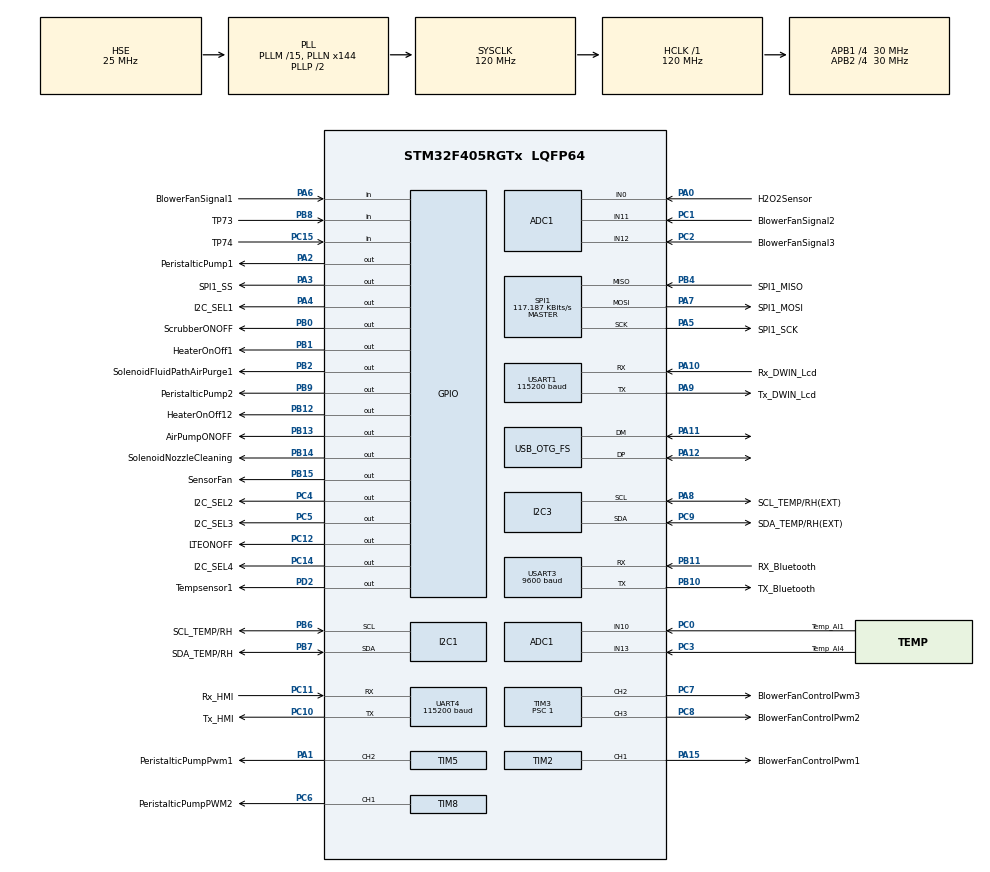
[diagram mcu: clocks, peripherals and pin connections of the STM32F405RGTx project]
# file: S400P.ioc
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ADC1.Channel-0\#ChannelRegularConversion=ADC_CHANNEL_0
ADC1.Channel-1\#ChannelRegularConversion=ADC_CHANNEL_10
ADC1.Channel-2\#ChannelRegularConversion=ADC_CHANNEL_11
ADC1.Channel-3\#ChannelRegularConversion=ADC_CHANNEL_12
ADC1.Channel-4\#ChannelRegularConversion=ADC_CHANNEL_13
ADC1.ClockPrescaler=ADC_CLOCK_SYNC_PCLK_DIV4
ADC1.ContinuousConvMode=ENABLE
ADC1.DMAContinuousRequests=ENABLE
ADC1.InjNumberOfConversion=0
ADC1.NbrOfConversion=5
ADC1.NbrOfConversionFlag=1
ADC1.Rank-0\#ChannelRegularConversion=1
ADC1.Rank-1\#ChannelRegularConversion=2
ADC1.Rank-2\#ChannelRegularConversion=3
ADC1.Rank-3\#ChannelRegularConversion=4
ADC1.Rank-4\#ChannelRegularConversion=5
ADC1.SamplingTime-0\#ChannelRegularConversion=ADC_SAMPLETIME_3CYCLES
ADC1.SamplingTime-1\#ChannelRegularConversion=ADC_SAMPLETIME_3CYCLES
ADC1.SamplingTime-2\#ChannelRegularConversion=ADC_SAMPLETIME_3CYCLES
ADC1.SamplingTime-3\#ChannelRegularConversion=ADC_SAMPLETIME_3CYCLES
ADC1.SamplingTime-4\#ChannelRegularConversion=ADC_SAMPLETIME_3CYCLES
ADC1.master=1
Dma.ADC1.0.Direction=DMA_PERIPH_TO_MEMORY
Dma.ADC1.0.FIFOMode=DMA_FIFOMODE_ENABLE
Dma.ADC1.0.FIFOThreshold=DMA_FIFO_THRESHOLD_FULL
Dma.ADC1.0.Instance=DMA2_Stream0
Dma.ADC1.0.MemBurst=DMA_MBURST_SINGLE
Dma.ADC1.0.MemDataAlignment=DMA_MDATAALIGN_WORD
Dma.ADC1.0.MemInc=DMA_MINC_ENABLE
Dma.ADC1.0.Mode=DMA_CIRCULAR
Dma.ADC1.0.PeriphBurst=DMA_PBURST_SINGLE
Dma.ADC1.0.PeriphDataAlignment=DMA_PDATAALIGN_WORD
Dma.ADC1.0.PeriphInc=DMA_PINC_DISABLE
Dma.ADC1.0.Priority=DMA_PRIORITY_LOW
Dma.Request0=ADC1
FATFS._CODE_PAGE=437
FATFS._FS_EXFAT=1
FATFS._FS_NORTC=0
FATFS._NORTC_MDAY=20
FATFS._NORTC_YEAR=2019
FATFS._USE_LFN=1
I2C1.NoStretchMode=I2C_NOSTRETCH_DISABLE
Mcu.Family=STM32F4
Mcu.Name=STM32F405RGTx
Mcu.Package=LQFP64
NVIC.DMA2_Stream0_IRQn=true\:0\:0\:false\:false\:true\:false\:true\:true
NVIC.OTG_FS_IRQn=true\:0\:0\:false\:false\:true\:false\:true\:true
NVIC.PriorityGroup=NVIC_PRIORITYGROUP_4
NVIC.TIM7_IRQn=true\:0\:0\:false\:true\:true\:1\:true\:true\:true
NVIC.UART4_IRQn=true\:0\:0\:false\:false\:true\:true\:true\:true
NVIC.USART1_IRQn=true\:0\:0\:false\:true\:true\:2\:true\:true\:true
PA0-WKUP.GPIO_Label=H2O2Sensor
PA0-WKUP.Signal=ADCx_IN0
PA1.GPIO_Label=PeristalticPumpPwm1
PA1.GPIO_PuPd=GPIO_PULLUP
PA1.Signal=S_TIM5_CH2
PA10.GPIO_Label=Rx_DWIN_Lcd
PA10.Mode=Asynchronous
PA10.Signal=USART1_RX
PA11.GPIO_PuPd=GPIO_PULLUP
PA11.GPIO_Speed=GPIO_SPEED_FREQ_HIGH
PA11.Mode=Host_Only
PA11.Signal=USB_OTG_FS_DM
PA12.GPIO_PuPd=GPIO_PULLUP
PA12.GPIO_Speed=GPIO_SPEED_FREQ_HIGH
PA12.Mode=Host_Only
PA12.Signal=USB_OTG_FS_DP
PA13.Mode=Trace_Asynchronous_SW
PA13.Signal=SYS_JTMS-SWDIO
PA14.Mode=Trace_Asynchronous_SW
PA14.Signal=SYS_JTCK-SWCLK
PA15.GPIO_Label=BlowerFanControlPwm1
PA15.GPIO_PuPd=GPIO_PULLUP
PA15.Signal=S_TIM2_CH1_ETR
PA2.GPIO_Label=PeristalticPump1
PA2.Signal=GPIO_Output
PA3.GPIO_Label=SPI1_SS
PA3.GPIO_PuPd=GPIO_PULLUP
PA3.GPIO_Speed=GPIO_SPEED_FREQ_VERY_HIGH
PA3.PinState=GPIO_PIN_SET
PA3.Signal=GPIO_Output
PA4.GPIO_Label=I2C_SEL1
PA4.GPIO_PuPd=GPIO_PULLUP
PA4.Signal=GPIO_Output
PA5.GPIO_Label=SPI1_SCK
PA5.Mode=Full_Duplex_Master
PA5.Signal=SPI1_SCK
PA6.GPIO_Label=BlowerFanSignal1
PA6.GPIO_PuPd=GPIO_PULLUP
PA6.Signal=GPIO_Input
PA7.GPIO_Label=SPI1_MOSI
PA7.GPIO_PuPd=GPIO_PULLUP
PA7.Mode=Full_Duplex_Master
PA7.Signal=SPI1_MOSI
PA8.GPIO_Label=SCL_TEMP/RH(EXT)
PA8.GPIO_Pu=GPIO_PULLUP
PA8.Mode=I2C
PA8.Signal=I2C3_SCL
PA9.GPIO_Label=Tx_DWIN_Lcd
PA9.GPIO_Speed=GPIO_SPEED_FREQ_HIGH
PA9.Mode=Asynchronous
PA9.Signal=USART1_TX
PB0.GPIO_Label=ScrubberONOFF
PB0.GPIO_PuPd=GPIO_PULLDOWN
PB0.Signal=GPIO_Output
PB1.GPIO_Label=HeaterOnOff1
PB1.GPIO_PuPd=GPIO_PULLDOWN
PB1.Signal=GPIO_Output
PB10.GPIO_Label=TX_Bluetooth
PB10.GPIO_Speed=GPIO_SPEED_FREQ_HIGH
PB10.Mode=Asynchronous
PB10.Signal=USART3_TX
PB11.GPIO_Label=RX_Bluetooth
PB11.Mode=Asynchronous
PB11.Signal=USART3_RX
PB12.GPIO_Label=HeaterOnOff12
PB12.GPIO_PuPd=GPIO_PULLDOWN
PB12.Signal=GPIO_Output
PB13.GPIO_Label=AirPumpONOFF
PB13.GPIO_PuPd=GPIO_PULLDOWN
PB13.Signal=GPIO_Output
PB14.GPIO_Label=SolenoidNozzleCleaning
PB14.GPIO_PuPd=GPIO_PULLUP
PB14.Signal=GPIO_Output
PB15.GPIO_Label=SensorFan
PB15.GPIO_ModeDefaultOutputPP=GPIO_MODE_OUTPUT_PP
PB15.GPIO_PuPd=GPIO_PULLUP
PB15.PinState=GPIO_PIN_SET
PB15.Signal=GPIO_Output
PB2.GPIO_Label=SolenoidFluidPathAirPurge1
PB2.GPIO_PuPd=GPIO_PULLUP
PB2.Signal=GPIO_Output
PB3.Mode=Trace_Asynchronous_SW
PB3.Signal=SYS_JTDO-SWO
PB4.GPIO_Label=SPI1_MISO
PB4.GPIO_PuPd=GPIO_PULLUP
PB4.Mode=Full_Duplex_Master
PB4.Signal=SPI1_MISO
PB6.GPIO_Label=SCL_TEMP/RH
PB6.GPIO_Pu=GPIO_PULLUP
PB6.Mode=I2C
PB6.Signal=I2C1_SCL
PB7.GPIO_Label=SDA_TEMP/RH
PB7.GPIO_Pu=GPIO_PULLUP
PB7.Mode=I2C
PB7.Signal=I2C1_SDA
PB8.GPIO_Label=TP73
PB8.GPIO_PuPd=GPIO_PULLUP
PB8.Signal=GPIO_Input
PB9.GPIO_Label=PeristalticPump2
PB9.PinState=GPIO_PIN_SET
PB9.Signal=GPIO_Output
PC0.GPIO_Label=Temp_AI1
PC0.Signal=ADCx_IN10
PC1.GPIO_Label=BlowerFanSignal2
PC1.Signal=ADCx_IN11
PC10.GPIO_Label=Tx_HMI
PC10.Mode=Asynchronous
PC10.Signal=UART4_TX
PC11.GPIO_Label=Rx_HMI
PC11.Mode=Asynchronous
PC11.Signal=UART4_RX
PC12.GPIO_Label=LTEONOFF
PC12.GPIO_ModeDefaultOutputPP=GPIO_MODE_OUTPUT_OD
PC12.GPIO_PuPd=GPIO_NOPULL
PC12.GPIO_Speed=GPIO_SPEED_FREQ_HIGH
PC12.PinState=GPIO_PIN_RESET
PC12.Signal=GPIO_Output
PC14-OSC32_IN.GPIO_Label=I2C_SEL4
PC14-OSC32_IN.GPIO_PuPd=GPIO_PULLUP
PC14-OSC32_IN.Signal=GPIO_Output
PC15-OSC32_OUT.GPIO_Label=TP74
PC15-OSC32_OUT.GPIO_PuPd=GPIO_PULLUP
PC15-OSC32_OUT.Signal=GPIO_Input
PC2.GPIO_Label=BlowerFanSignal3
PC2.Signal=ADCx_IN12
PC3.GPIO_Label=Temp_AI4
PC3.Signal=ADCx_IN13
PC4.GPIO_Label=I2C_SEL2
PC4.GPIO_PuPd=GPIO_PULLUP
PC4.Signal=GPIO_Output
PC5.GPIO_Label=I2C_SEL3
PC5.GPIO_PuPd=GPIO_PULLUP
PC5.Signal=GPIO_Output
PC6.GPIO_Label=PeristalticPumpPWM2
PC6.GPIO_PuPd=GPIO_PULLUP
PC6.Signal=S_TIM8_CH1
PC7.GPIO_Label=BlowerFanControlPwm3
PC7.GPIO_PuPd=GPIO_PULLUP
PC7.Signal=S_TIM3_CH2
PC8.GPIO_Label=BlowerFanControlPwm2
PC8.GPIO_PuPd=GPIO_PULLUP
PC8.Signal=S_TIM3_CH3
PC9.GPIO_Label=SDA_TEMP/RH(EXT)
PC9.GPIO_Pu=GPIO_PULLUP
PC9.Mode=I2C
PC9.Signal=I2C3_SDA
PD2.GPIO_Label=Tempsensor1
PD2.GPIO_PuPd=GPIO_PULLUP
PD2.GPIO_Speed=GPIO_SPEED_FREQ_VERY_HIGH
PD2.PinState=GPIO_PIN_SET
PD2.Signal=GPIO_Output
PH0-OSC_IN.Mode=HSE-External-Oscillator
PH0-OSC_IN.Signal=RCC_OSC_IN
PH1-OSC_OUT.Mode=HSE-External-Oscillator
PH1-OSC_OUT.Signal=RCC_OSC_OUT
ProjectManager.HeapSize=0x200
ProjectManager.StackSize=0x800
ProjectManager.TargetToolchain=STM32CubeIDE
RCC.48MHZClocksFreq_Value=48000000
RCC.AHBFreq_Value=120000000
RCC.APB1CLKDivider=RCC_HCLK_DIV4
RCC.APB1Freq_Value=30000000
RCC.APB1TimFreq_Value=60000000
RCC.APB2CLKDivider=RCC_HCLK_DIV4
RCC.APB2Freq_Value=30000000
RCC.APB2TimFreq_Value=60000000
RCC.CortexFreq_Value=120000000
RCC.HCLKFreq_Value=120000000
RCC.HSE_VALUE=25000000
RCC.HSI_VALUE=16000000
RCC.LSE_VALUE=32768
RCC.PLLM=15
RCC.PLLN=144
RCC.PLLQ=5
RCC.SYSCLKFreq_VALUE=120000000
RCC.SYSCLKSource=RCC_SYSCLKSOURCE_PLLCLK
RCC.VCOOutputFreq_Value=240000000
SH.ADCx_IN0.0=ADC1_IN0,IN0
SH.ADCx_IN10.0=ADC1_IN10,IN10
SH.ADCx_IN11.0=ADC1_IN11,IN11
SH.ADCx_IN12.0=ADC1_IN12,IN12
SH.ADCx_IN13.0=ADC1_IN13,IN13
SH.S_TIM2_CH1_ETR.0=TIM2_CH1,PWM Generation1 CH1
SH.S_TIM3_CH2.0=TIM3_CH2,PWM Generation2 CH2
SH.S_TIM3_CH3.0=TIM3_CH3,PWM Generation3 CH3
SH.S_TIM5_CH2.0=TIM5_CH2,PWM Generation2 CH2
SH.S_TIM8_CH1.0=TIM8_CH1,PWM Generation1 CH1
SPI1.BaudRatePrescaler=SPI_BAUDRATEPRESCALER_256
SPI1.CLKPolarity=SPI_POLARITY_LOW
SPI1.CalculateBaudRate=117.187 KBits/s
SPI1.Direction=SPI_DIRECTION_2LINES
SPI1.Mode=SPI_MODE_MASTER
SPI1.VirtualType=VM_MASTER
TIM2.Channel-PWM\ Generation1\ CH1=TIM_CHANNEL_1
TIM2.OCPolarity_1=TIM_OCPOLARITY_LOW
TIM2.Period=1200-1
TIM2.Prescaler=1
TIM2.Pulse-PWM\ Generation1\ CH1=780-1
TIM3.Channel-PWM\ Generation2\ CH2=TIM_CHANNEL_2
TIM3.Channel-PWM\ Generation3\ CH3=TIM_CHANNEL_3
TIM3.OCPolarity_2=TIM_OCPOLARITY_LOW
TIM3.OCPolarity_3=TIM_OCPOLARITY_LOW
TIM3.Period=1200-1
TIM3.Prescaler=1
TIM3.Pulse-PWM\ Generation2\ CH2=780-1
TIM3.Pulse-PWM\ Generation3\ CH3=780-1
TIM5.AutoReloadPreload=TIM_AUTORELOAD_PRELOAD_ENABLE
TIM5.Channel-PWM\ Generation2\ CH2=TIM_CHANNEL_2
TIM5.Period=550-1
TIM5.Prescaler=375-1
TIM5.Pulse-PWM\ Generation2\ CH2=550/2-1
TIM7.Period=6000-1
TIM7.Prescaler=10-1
TIM8.AutoReloadPreload=TIM_AUTORELOAD_PRELOAD_ENABLE
TIM8.AutomaticOutput=TIM_AUTOMATICOUTPUT_DISABLE
TIM8.BreakState=TIM_BREAK_DISABLE
TIM8.Channel-PWM\ Generation1\ CH1=TIM_CHANNEL_1
TIM8.Period=550-1
TIM8.Prescaler=375-1
TIM8.Pulse-PWM\ Generation1\ CH1=550/2-1
UART4.BaudRate=115200
UART4.VirtualMode=Asynchronous
USART1.BaudRate=115200
USART1.VirtualMode=VM_ASYNC
USART3.BaudRate=9600
USART3.VirtualMode=VM_ASYNC
USB_HOST.SW_VBUS_DRIVE_MSC_FS=true
USB_HOST.USBH_HandleTypeDef-MSC_FS=hUsbHostFS
USB_HOST.VirtualModeFS=Msc
USB_OTG_FS.VirtualMode=Host_Only
USB_OTG_FS.phy_itface=HCD_PHY_EMBEDDED
VP_CRC_VS_CRC.Mode=CRC_Activate
VP_FATFS_VS_USB.Mode=USB
VP_RTC_VS_RTC_Activate.Mode=RTC_Enabled
VP_RTC_VS_RTC_Calendar.Mode=RTC_Calendar
VP_TIM2_VS_ClockSourceINT.Mode=Internal
VP_TIM3_VS_ClockSourceINT.Mode=Internal
VP_TIM5_VS_ClockSourceINT.Mode=Internal
VP_TIM7_VS_ClockSourceINT.Mode=Enable_Timer
VP_TIM8_VS_ClockSourceINT.Mode=Internal
VP_USB_HOST_VS_USB_HOST_MSC_FS.Mode=MSC_FS
board=custom

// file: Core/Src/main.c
/* USER CODE BEGIN Header */
/**
  ******************************************************************************
  * @file           : main.c
  * @brief          : Main program body
  ******************************************************************************
  * @attention
  *
  * Copyright (c) 2026 STMicroelectronics.
  * All rights reserved.
  *
  * This software is licensed under terms that can be found in the LICENSE file
  * in the root directory of this software component.
  * If no LICENSE file comes with this software, it is provided AS-IS.
  *
  ******************************************************************************
  */
/* USER CODE END Header */
#include "main.h"
#include "fatfs.h"
#include "usb_host.h"

/* USER CODE BEGIN Includes */
#include <string.h>

/* USER CODE END Includes */

/* USER CODE BEGIN PD */
#define HMI_MODBUS_SLAVE_ID      0U
#define HMI_MODBUS_POLL_MS       1000U
#define HMI_MODBUS_UART_HANDLE   (&huart4)
#define HMI_MODBUS_COUNTER_ADDR  100U

/* USER CODE END PD */

ADC_HandleTypeDef hadc1;
DMA_HandleTypeDef hdma_adc1;

CRC_HandleTypeDef hcrc;

I2C_HandleTypeDef hi2c1;
I2C_HandleTypeDef hi2c3;

RTC_HandleTypeDef hrtc;

SPI_HandleTypeDef hspi1;

TIM_HandleTypeDef htim2;
TIM_HandleTypeDef htim3;
TIM_HandleTypeDef htim5;
TIM_HandleTypeDef htim7;
TIM_HandleTypeDef htim8;

UART_HandleTypeDef huart4;
UART_HandleTypeDef huart1;
UART_HandleTypeDef huart3;

/* USER CODE BEGIN PV */
static uint32_t g_hmiLastPollTick = 0U;
static uint16_t g_hmiTxCounter = 0U;

/* USER CODE END PV */

void SystemClock_Config(void);
static void MX_GPIO_Init(void);
static void MX_DMA_Init(void);
static void MX_ADC1_Init(void);
static void MX_CRC_Init(void);
static void MX_I2C1_Init(void);
static void MX_I2C3_Init(void);
static void MX_SPI1_Init(void);
static void MX_TIM2_Init(void);
static void MX_TIM3_Init(void);
static void MX_TIM5_Init(void);
static void MX_UART4_Init(void);
static void MX_USART1_UART_Init(void);
static void MX_USART3_UART_Init(void);
static void MX_TIM7_Init(void);
static void MX_TIM8_Init(void);
static void MX_RTC_Init(void);
static void MX_NVIC_Init(void);
void MX_USB_HOST_Process(void);

/* USER CODE BEGIN PFP */
static uint16_t Modbus_CRC16(const uint8_t *data, uint16_t length);
static HAL_StatusTypeDef HMI_ModbusWriteSingleRegister(UART_HandleTypeDef *huart,
                                                        uint8_t slaveId,
                                                        uint16_t regAddr,
                                                        uint16_t value);

/* USER CODE END PFP */

/* USER CODE BEGIN 0 */
static uint16_t Modbus_CRC16(const uint8_t *data, uint16_t length)
{
  uint16_t crc = 0xFFFFU;
  uint16_t i;
  uint8_t j;

  for (i = 0U; i < length; i++)
  {
    crc ^= data[i];
    for (j = 0U; j < 8U; j++)
    {
      if ((crc & 0x0001U) != 0U)
      {
        crc >>= 1U;
        crc ^= 0xA001U;
      }
      else
      {
        crc >>= 1U;
      }
    }
  }

  return crc;
}

static HAL_StatusTypeDef HMI_ModbusWriteSingleRegister(UART_HandleTypeDef *huart,
                                                        uint8_t slaveId,
                                                        uint16_t regAddr,
                                                        uint16_t value)
{
  uint8_t request[8];
  uint8_t response[8];
  uint16_t crc;
  HAL_StatusTypeDef status;

  request[0] = slaveId;
  request[1] = 0x06U; /* Function Code: Write Single Register */
  request[2] = (uint8_t)(regAddr >> 8);
  request[3] = (uint8_t)(regAddr & 0x00FFU);
  request[4] = (uint8_t)(value >> 8);
  request[5] = (uint8_t)(value & 0x00FFU);

  crc = Modbus_CRC16(request, 6U);
  request[6] = (uint8_t)(crc & 0x00FFU);       /* CRC Low */
  request[7] = (uint8_t)((crc >> 8) & 0x00FFU);/* CRC High */

  status = HAL_UART_Transmit(huart, request, sizeof(request), 100U);
  if (status != HAL_OK)
  {
    return status;
  }

  status = HAL_UART_Receive(huart, response, sizeof(response), 200U);
  if (status != HAL_OK)
  {
    return status;
  }

  crc = Modbus_CRC16(response, 6U);
  if ((response[6] != (uint8_t)(crc & 0x00FFU)) ||
      (response[7] != (uint8_t)((crc >> 8) & 0x00FFU)))
  {
    return HAL_ERROR;
  }

  if (memcmp(request, response, 6U) != 0)
  {
    return HAL_ERROR;
  }

  return HAL_OK;
}

/* USER CODE END 0 */

int main(void)
{

  /* MCU Configuration--------------------------------------------------------*/

  /* Reset of all peripherals, Initializes the Flash interface and the Systick. */
  HAL_Init();

  /* Configure the system clock */
  SystemClock_Config();

  /* Initialize all configured peripherals */
  MX_GPIO_Init();
  MX_DMA_Init();
  MX_ADC1_Init();
  MX_CRC_Init();
  MX_I2C1_Init();
  MX_I2C3_Init();
  MX_SPI1_Init();
  MX_TIM2_Init();
  MX_TIM3_Init();
  MX_TIM5_Init();
  MX_UART4_Init();
  MX_USART1_UART_Init();
  MX_USART3_UART_Init();
  MX_FATFS_Init();
  MX_USB_HOST_Init();
  MX_TIM7_Init();
  MX_TIM8_Init();
  MX_RTC_Init();

  /* Initialize interrupts */
  MX_NVIC_Init();
  /* USER CODE BEGIN 2 */
  g_hmiLastPollTick = HAL_GetTick();

  /* USER CODE END 2 */

  /* Infinite loop */
  while (1)
  {
    MX_USB_HOST_Process();

    /* USER CODE BEGIN 3 */
    if ((HAL_GetTick() - g_hmiLastPollTick) >= HMI_MODBUS_POLL_MS)
    {
      g_hmiLastPollTick = HAL_GetTick();

      if (HMI_ModbusWriteSingleRegister(HMI_MODBUS_UART_HANDLE,
                                        HMI_MODBUS_SLAVE_ID,
                                        HMI_MODBUS_COUNTER_ADDR,
                                        g_hmiTxCounter) == HAL_OK)
      {
        g_hmiTxCounter++;
      }
      else
      {
        /* 통신 실패 시 재시도 또는 에러 카운트 처리 (counter 값 유지) */
      }
    }
  }
  /* USER CODE END 3 */
}

void SystemClock_Config(void)
{
  RCC_OscInitTypeDef RCC_OscInitStruct = {0};
  RCC_ClkInitTypeDef RCC_ClkInitStruct = {0};

  /** Configure the main internal regulator output voltage
  */
  __HAL_RCC_PWR_CLK_ENABLE();
  __HAL_PWR_VOLTAGESCALING_CONFIG(PWR_REGULATOR_VOLTAGE_SCALE1);

  /** Initializes the RCC Oscillators according to the specified parameters
  * in the RCC_OscInitTypeDef structure.
  */
  RCC_OscInitStruct.OscillatorType = RCC_OSCILLATORTYPE_LSI|RCC_OSCILLATORTYPE_HSE;
  RCC_OscInitStruct.HSEState = RCC_HSE_ON;
  RCC_OscInitStruct.LSIState = RCC_LSI_ON;
  RCC_OscInitStruct.PLL.PLLState = RCC_PLL_ON;
  RCC_OscInitStruct.PLL.PLLSource = RCC_PLLSOURCE_HSE;
  RCC_OscInitStruct.PLL.PLLM = 15;
  RCC_OscInitStruct.PLL.PLLN = 144;
  RCC_OscInitStruct.PLL.PLLP = RCC_PLLP_DIV2;
  RCC_OscInitStruct.PLL.PLLQ = 5;
  if (HAL_RCC_OscConfig(&RCC_OscInitStruct) != HAL_OK)
  {
    Error_Handler();
  }

  /** Initializes the CPU, AHB and APB buses clocks
  */
  RCC_ClkInitStruct.ClockType = RCC_CLOCKTYPE_HCLK|RCC_CLOCKTYPE_SYSCLK
                              |RCC_CLOCKTYPE_PCLK1|RCC_CLOCKTYPE_PCLK2;
  RCC_ClkInitStruct.SYSCLKSource = RCC_SYSCLKSOURCE_PLLCLK;
  RCC_ClkInitStruct.AHBCLKDivider = RCC_SYSCLK_DIV1;
  RCC_ClkInitStruct.APB1CLKDivider = RCC_HCLK_DIV4;
  RCC_ClkInitStruct.APB2CLKDivider = RCC_HCLK_DIV4;

  if (HAL_RCC_ClockConfig(&RCC_ClkInitStruct, FLASH_LATENCY_3) != HAL_OK)
  {
    Error_Handler();
  }
}

/**
  * @brief NVIC Configuration.
  * @retval None
  */
static void MX_NVIC_Init(void)
{
  /* TIM7_IRQn interrupt configuration */
  HAL_NVIC_SetPriority(TIM7_IRQn, 0, 0);
  HAL_NVIC_EnableIRQ(TIM7_IRQn);
  /* USART1_IRQn interrupt configuration */
  HAL_NVIC_SetPriority(USART1_IRQn, 0, 0);
  HAL_NVIC_EnableIRQ(USART1_IRQn);
}

static void MX_ADC1_Init(void)
{

  ADC_ChannelConfTypeDef sConfig = {0};

  /** Configure the global features of the ADC (Clock, Resolution, Data Alignment and number of conversion)
  */
  hadc1.Instance = ADC1;
  hadc1.Init.ClockPrescaler = ADC_CLOCK_SYNC_PCLK_DIV4;
  hadc1.Init.Resolution = ADC_RESOLUTION_12B;
  hadc1.Init.ScanConvMode = ENABLE;
  hadc1.Init.ContinuousConvMode = ENABLE;
  hadc1.Init.DiscontinuousConvMode = DISABLE;
  hadc1.Init.ExternalTrigConvEdge = ADC_EXTERNALTRIGCONVEDGE_NONE;
  hadc1.Init.ExternalTrigConv = ADC_SOFTWARE_START;
  hadc1.Init.DataAlign = ADC_DATAALIGN_RIGHT;
  hadc1.Init.NbrOfConversion = 5;
  hadc1.Init.DMAContinuousRequests = ENABLE;
  hadc1.Init.EOCSelection = ADC_EOC_SINGLE_CONV;
  if (HAL_ADC_Init(&hadc1) != HAL_OK)
  {
    Error_Handler();
  }

  /** Configure for the selected ADC regular channel its corresponding rank in the sequencer and its sample time.
  */
  sConfig.Channel = ADC_CHANNEL_0;
  sConfig.Rank = 1;
  sConfig.SamplingTime = ADC_SAMPLETIME_3CYCLES;
  if (HAL_ADC_ConfigChannel(&hadc1, &sConfig) != HAL_OK)
  {
    Error_Handler();
  }

  /** Configure for the selected ADC regular channel its corresponding rank in the sequencer and its sample time.
  */
  sConfig.Channel = ADC_CHANNEL_10;
  sConfig.Rank = 2;
  if (HAL_ADC_ConfigChannel(&hadc1, &sConfig) != HAL_OK)
  {
    Error_Handler();
  }

  /** Configure for the selected ADC regular channel its corresponding rank in the sequencer and its sample time.
  */
  sConfig.Channel = ADC_CHANNEL_11;
  sConfig.Rank = 3;
  if (HAL_ADC_ConfigChannel(&hadc1, &sConfig) != HAL_OK)
  {
    Error_Handler();
  }

  /** Configure for the selected ADC regular channel its corresponding rank in the sequencer and its sample time.
  */
  sConfig.Channel = ADC_CHANNEL_12;
  sConfig.Rank = 4;
  if (HAL_ADC_ConfigChannel(&hadc1, &sConfig) != HAL_OK)
  {
    Error_Handler();
  }

  /** Configure for the selected ADC regular channel its corresponding rank in the sequencer and its sample time.
  */
  sConfig.Channel = ADC_CHANNEL_13;
  sConfig.Rank = 5;
  if (HAL_ADC_ConfigChannel(&hadc1, &sConfig) != HAL_OK)
  {
    Error_Handler();
  }

}

static void MX_CRC_Init(void)
{

  hcrc.Instance = CRC;
  if (HAL_CRC_Init(&hcrc) != HAL_OK)
  {
    Error_Handler();
  }

}

static void MX_I2C1_Init(void)
{

  hi2c1.Instance = I2C1;
  hi2c1.Init.ClockSpeed = 100000;
  hi2c1.Init.DutyCycle = I2C_DUTYCYCLE_2;
  hi2c1.Init.OwnAddress1 = 0;
  hi2c1.Init.AddressingMode = I2C_ADDRESSINGMODE_7BIT;
  hi2c1.Init.DualAddressMode = I2C_DUALADDRESS_DISABLE;
  hi2c1.Init.OwnAddress2 = 0;
  hi2c1.Init.GeneralCallMode = I2C_GENERALCALL_DISABLE;
  hi2c1.Init.NoStretchMode = I2C_NOSTRETCH_DISABLE;
  if (HAL_I2C_Init(&hi2c1) != HAL_OK)
  {
    Error_Handler();
  }

}

static void MX_I2C3_Init(void)
{

  hi2c3.Instance = I2C3;
  hi2c3.Init.ClockSpeed = 100000;
  hi2c3.Init.DutyCycle = I2C_DUTYCYCLE_2;
  hi2c3.Init.OwnAddress1 = 0;
  hi2c3.Init.AddressingMode = I2C_ADDRESSINGMODE_7BIT;
  hi2c3.Init.DualAddressMode = I2C_DUALADDRESS_DISABLE;
  hi2c3.Init.OwnAddress2 = 0;
  hi2c3.Init.GeneralCallMode = I2C_GENERALCALL_DISABLE;
  hi2c3.Init.NoStretchMode = I2C_NOSTRETCH_DISABLE;
  if (HAL_I2C_Init(&hi2c3) != HAL_OK)
  {
    Error_Handler();
  }

}

static void MX_RTC_Init(void)
{

  RTC_TimeTypeDef sTime = {0};
  RTC_DateTypeDef sDate = {0};

  /** Initialize RTC Only
  */
  hrtc.Instance = RTC;
  hrtc.Init.HourFormat = RTC_HOURFORMAT_24;
  hrtc.Init.AsynchPrediv = 127;
  hrtc.Init.SynchPrediv = 255;
  hrtc.Init.OutPut = RTC_OUTPUT_DISABLE;
  hrtc.Init.OutPutPolarity = RTC_OUTPUT_POLARITY_HIGH;
  hrtc.Init.OutPutType = RTC_OUTPUT_TYPE_OPENDRAIN;
  if (HAL_RTC_Init(&hrtc) != HAL_OK)
  {
    Error_Handler();
  }

  /** Initialize RTC and set the Time and Date
  */
  sTime.Hours = 0x0;
  sTime.Minutes = 0x0;
  sTime.Seconds = 0x0;
  sTime.DayLightSaving = RTC_DAYLIGHTSAVING_NONE;
  sTime.StoreOperation = RTC_STOREOPERATION_RESET;
  if (HAL_RTC_SetTime(&hrtc, &sTime, RTC_FORMAT_BCD) != HAL_OK)
  {
    Error_Handler();
  }
  sDate.WeekDay = RTC_WEEKDAY_MONDAY;
  sDate.Month = RTC_MONTH_JANUARY;
  sDate.Date = 0x1;
  sDate.Year = 0x0;

  if (HAL_RTC_SetDate(&hrtc, &sDate, RTC_FORMAT_BCD) != HAL_OK)
  {
    Error_Handler();
  }

}

static void MX_SPI1_Init(void)
{

  /* SPI1 parameter configuration*/
  hspi1.Instance = SPI1;
  hspi1.Init.Mode = SPI_MODE_MASTER;
  hspi1.Init.Direction = SPI_DIRECTION_2LINES;
  hspi1.Init.DataSize = SPI_DATASIZE_8BIT;
  hspi1.Init.CLKPolarity = SPI_POLARITY_LOW;
  hspi1.Init.CLKPhase = SPI_PHASE_1EDGE;
  hspi1.Init.NSS = SPI_NSS_SOFT;
  hspi1.Init.BaudRatePrescaler = SPI_BAUDRATEPRESCALER_256;
  hspi1.Init.FirstBit = SPI_FIRSTBIT_MSB;
  hspi1.Init.TIMode = SPI_TIMODE_DISABLE;
  hspi1.Init.CRCCalculation = SPI_CRCCALCULATION_DISABLE;
  hspi1.Init.CRCPolynomial = 10;
  if (HAL_SPI_Init(&hspi1) != HAL_OK)
  {
    Error_Handler();
  }

}

static void MX_TIM2_Init(void)
{

  TIM_ClockConfigTypeDef sClockSourceConfig = {0};
  TIM_MasterConfigTypeDef sMasterConfig = {0};
  TIM_OC_InitTypeDef sConfigOC = {0};

  htim2.Instance = TIM2;
  htim2.Init.Prescaler = 1;
  htim2.Init.CounterMode = TIM_COUNTERMODE_UP;
  htim2.Init.Period = 1200-1;
  htim2.Init.ClockDivision = TIM_CLOCKDIVISION_DIV1;
  htim2.Init.AutoReloadPreload = TIM_AUTORELOAD_PRELOAD_DISABLE;
  if (HAL_TIM_Base_Init(&htim2) != HAL_OK)
  {
    Error_Handler();
  }
  sClockSourceConfig.ClockSource = TIM_CLOCKSOURCE_INTERNAL;
  if (HAL_TIM_ConfigClockSource(&htim2, &sClockSourceConfig) != HAL_OK)
  {
    Error_Handler();
  }
  if (HAL_TIM_PWM_Init(&htim2) != HAL_OK)
  {
    Error_Handler();
  }
  sMasterConfig.MasterOutputTrigger = TIM_TRGO_RESET;
  sMasterConfig.MasterSlaveMode = TIM_MASTERSLAVEMODE_DISABLE;
  if (HAL_TIMEx_MasterConfigSynchronization(&htim2, &sMasterConfig) != HAL_OK)
  {
    Error_Handler();
  }
  sConfigOC.OCMode = TIM_OCMODE_PWM1;
  sConfigOC.Pulse = 780-1;
  sConfigOC.OCPolarity = TIM_OCPOLARITY_LOW;
  sConfigOC.OCFastMode = TIM_OCFAST_DISABLE;
  if (HAL_TIM_PWM_ConfigChannel(&htim2, &sConfigOC, TIM_CHANNEL_1) != HAL_OK)
  {
    Error_Handler();
  }
  HAL_TIM_MspPostInit(&htim2);

}

static void MX_TIM3_Init(void)
{

  TIM_ClockConfigTypeDef sClockSourceConfig = {0};
  TIM_MasterConfigTypeDef sMasterConfig = {0};
  TIM_OC_InitTypeDef sConfigOC = {0};

  htim3.Instance = TIM3;
  htim3.Init.Prescaler = 1;
  htim3.Init.CounterMode = TIM_COUNTERMODE_UP;
  htim3.Init.Period = 1200-1;
  htim3.Init.ClockDivision = TIM_CLOCKDIVISION_DIV1;
  htim3.Init.AutoReloadPreload = TIM_AUTORELOAD_PRELOAD_DISABLE;
  if (HAL_TIM_Base_Init(&htim3) != HAL_OK)
  {
    Error_Handler();
  }
  sClockSourceConfig.ClockSource = TIM_CLOCKSOURCE_INTERNAL;
  if (HAL_TIM_ConfigClockSource(&htim3, &sClockSourceConfig) != HAL_OK)
  {
    Error_Handler();
  }
  if (HAL_TIM_PWM_Init(&htim3) != HAL_OK)
  {
    Error_Handler();
  }
  sMasterConfig.MasterOutputTrigger = TIM_TRGO_RESET;
  sMasterConfig.MasterSlaveMode = TIM_MASTERSLAVEMODE_DISABLE;
  if (HAL_TIMEx_MasterConfigSynchronization(&htim3, &sMasterConfig) != HAL_OK)
  {
    Error_Handler();
  }
  sConfigOC.OCMode = TIM_OCMODE_PWM1;
  sConfigOC.Pulse = 780-1;
  sConfigOC.OCPolarity = TIM_OCPOLARITY_LOW;
  sConfigOC.OCFastMode = TIM_OCFAST_DISABLE;
  if (HAL_TIM_PWM_ConfigChannel(&htim3, &sConfigOC, TIM_CHANNEL_2) != HAL_OK)
  {
    Error_Handler();
  }
  if (HAL_TIM_PWM_ConfigChannel(&htim3, &sConfigOC, TIM_CHANNEL_3) != HAL_OK)
  {
    Error_Handler();
  }
  HAL_TIM_MspPostInit(&htim3);

}

static void MX_TIM5_Init(void)
{

  TIM_ClockConfigTypeDef sClockSourceConfig = {0};
  TIM_MasterConfigTypeDef sMasterConfig = {0};
  TIM_OC_InitTypeDef sConfigOC = {0};

  htim5.Instance = TIM5;
  htim5.Init.Prescaler = 375-1;
  htim5.Init.CounterMode = TIM_COUNTERMODE_UP;
  htim5.Init.Period = 550-1;
  htim5.Init.ClockDivision = TIM_CLOCKDIVISION_DIV1;
  htim5.Init.AutoReloadPreload = TIM_AUTORELOAD_PRELOAD_ENABLE;
  if (HAL_TIM_Base_Init(&htim5) != HAL_OK)
  {
    Error_Handler();
  }
  sClockSourceConfig.ClockSource = TIM_CLOCKSOURCE_INTERNAL;
  if (HAL_TIM_ConfigClockSource(&htim5, &sClockSourceConfig) != HAL_OK)
  {
    Error_Handler();
  }
  if (HAL_TIM_PWM_Init(&htim5) != HAL_OK)
  {
    Error_Handler();
  }
  sMasterConfig.MasterOutputTrigger = TIM_TRGO_RESET;
  sMasterConfig.MasterSlaveMode = TIM_MASTERSLAVEMODE_DISABLE;
  if (HAL_TIMEx_MasterConfigSynchronization(&htim5, &sMasterConfig) != HAL_OK)
  {
    Error_Handler();
  }
  sConfigOC.OCMode = TIM_OCMODE_PWM1;
  sConfigOC.Pulse = 550/2-1;
  sConfigOC.OCPolarity = TIM_OCPOLARITY_HIGH;
  sConfigOC.OCFastMode = TIM_OCFAST_DISABLE;
  if (HAL_TIM_PWM_ConfigChannel(&htim5, &sConfigOC, TIM_CHANNEL_2) != HAL_OK)
  {
    Error_Handler();
  }
  HAL_TIM_MspPostInit(&htim5);

}

static void MX_TIM7_Init(void)
{

  TIM_MasterConfigTypeDef sMasterConfig = {0};

  htim7.Instance = TIM7;
  htim7.Init.Prescaler = 10-1;
  htim7.Init.CounterMode = TIM_COUNTERMODE_UP;
  htim7.Init.Period = 6000-1;
  htim7.Init.AutoReloadPreload = TIM_AUTORELOAD_PRELOAD_DISABLE;
  if (HAL_TIM_Base_Init(&htim7) != HAL_OK)
  {
    Error_Handler();
  }
  sMasterConfig.MasterOutputTrigger = TIM_TRGO_RESET;
  sMasterConfig.MasterSlaveMode = TIM_MASTERSLAVEMODE_DISABLE;
  if (HAL_TIMEx_MasterConfigSynchronization(&htim7, &sMasterConfig) != HAL_OK)
  {
    Error_Handler();
  }

}

static void MX_TIM8_Init(void)
{

  TIM_ClockConfigTypeDef sClockSourceConfig = {0};
  TIM_MasterConfigTypeDef sMasterConfig = {0};
  TIM_OC_InitTypeDef sConfigOC = {0};
  TIM_BreakDeadTimeConfigTypeDef sBreakDeadTimeConfig = {0};

  htim8.Instance = TIM8;
  htim8.Init.Prescaler = 375-1;
  htim8.Init.CounterMode = TIM_COUNTERMODE_UP;
  htim8.Init.Period = 550-1;
  htim8.Init.ClockDivision = TIM_CLOCKDIVISION_DIV1;
  htim8.Init.RepetitionCounter = 0;
  htim8.Init.AutoReloadPreload = TIM_AUTORELOAD_PRELOAD_ENABLE;
  if (HAL_TIM_Base_Init(&htim8) != HAL_OK)
  {
    Error_Handler();
  }
  sClockSourceConfig.ClockSource = TIM_CLOCKSOURCE_INTERNAL;
  if (HAL_TIM_ConfigClockSource(&htim8, &sClockSourceConfig) != HAL_OK)
  {
    Error_Handler();
  }
  if (HAL_TIM_PWM_Init(&htim8) != HAL_OK)
  {
    Error_Handler();
  }
  sMasterConfig.MasterOutputTrigger = TIM_TRGO_RESET;
  sMasterConfig.MasterSlaveMode = TIM_MASTERSLAVEMODE_DISABLE;
  if (HAL_TIMEx_MasterConfigSynchronization(&htim8, &sMasterConfig) != HAL_OK)
  {
    Error_Handler();
  }
  sConfigOC.OCMode = TIM_OCMODE_PWM1;
  sConfigOC.Pulse = 550/2-1;
  sConfigOC.OCPolarity = TIM_OCPOLARITY_HIGH;
  sConfigOC.OCNPolarity = TIM_OCNPOLARITY_HIGH;
  sConfigOC.OCFastMode = TIM_OCFAST_DISABLE;
  sConfigOC.OCIdleState = TIM_OCIDLESTATE_RESET;
  sConfigOC.OCNIdleState = TIM_OCNIDLESTATE_RESET;
  if (HAL_TIM_PWM_ConfigChannel(&htim8, &sConfigOC, TIM_CHANNEL_1) != HAL_OK)
  {
    Error_Handler();
  }
  sBreakDeadTimeConfig.OffStateRunMode = TIM_OSSR_DISABLE;
  sBreakDeadTimeConfig.OffStateIDLEMode = TIM_OSSI_DISABLE;
  sBreakDeadTimeConfig.LockLevel = TIM_LOCKLEVEL_OFF;
  sBreakDeadTimeConfig.DeadTime = 0;
  sBreakDeadTimeConfig.BreakState = TIM_BREAK_DISABLE;
  sBreakDeadTimeConfig.BreakPolarity = TIM_BREAKPOLARITY_HIGH;
  sBreakDeadTimeConfig.AutomaticOutput = TIM_AUTOMATICOUTPUT_DISABLE;
  if (HAL_TIMEx_ConfigBreakDeadTime(&htim8, &sBreakDeadTimeConfig) != HAL_OK)
  {
    Error_Handler();
  }
  HAL_TIM_MspPostInit(&htim8);

}

static void MX_UART4_Init(void)
{

  huart4.Instance = UART4;
  huart4.Init.BaudRate = 115200;
  huart4.Init.WordLength = UART_WORDLENGTH_8B;
  huart4.Init.StopBits = UART_STOPBITS_1;
  huart4.Init.Parity = UART_PARITY_NONE;
  huart4.Init.Mode = UART_MODE_TX_RX;
  huart4.Init.HwFlowCtl = UART_HWCONTROL_NONE;
  huart4.Init.OverSampling = UART_OVERSAMPLING_16;
  if (HAL_UART_Init(&huart4) != HAL_OK)
  {
    Error_Handler();
  }

}

static void MX_USART1_UART_Init(void)
{

  huart1.Instance = USART1;
  huart1.Init.BaudRate = 115200;
  huart1.Init.WordLength = UART_WORDLENGTH_8B;
  huart1.Init.StopBits = UART_STOPBITS_1;
  huart1.Init.Parity = UART_PARITY_NONE;
  huart1.Init.Mode = UART_MODE_TX_RX;
  huart1.Init.HwFlowCtl = UART_HWCONTROL_NONE;
  huart1.Init.OverSampling = UART_OVERSAMPLING_16;
  if (HAL_UART_Init(&huart1) != HAL_OK)
  {
    Error_Handler();
  }

}

static void MX_USART3_UART_Init(void)
{

  huart3.Instance = USART3;
  huart3.Init.BaudRate = 9600;
  huart3.Init.WordLength = UART_WORDLENGTH_8B;
  huart3.Init.StopBits = UART_STOPBITS_1;
  huart3.Init.Parity = UART_PARITY_NONE;
  huart3.Init.Mode = UART_MODE_TX_RX;
  huart3.Init.HwFlowCtl = UART_HWCONTROL_NONE;
  huart3.Init.OverSampling = UART_OVERSAMPLING_16;
  if (HAL_UART_Init(&huart3) != HAL_OK)
  {
    Error_Handler();
  }

}

static void MX_DMA_Init(void)
{

  /* DMA controller clock enable */
  __HAL_RCC_DMA2_CLK_ENABLE();

  /* DMA interrupt init */
  /* DMA2_Stream0_IRQn interrupt configuration */
  HAL_NVIC_SetPriority(DMA2_Stream0_IRQn, 0, 0);
  HAL_NVIC_EnableIRQ(DMA2_Stream0_IRQn);

}

static void MX_GPIO_Init(void)
{
  GPIO_InitTypeDef GPIO_InitStruct = {0};

  /* GPIO Ports Clock Enable */
  __HAL_RCC_GPIOC_CLK_ENABLE();
  __HAL_RCC_GPIOH_CLK_ENABLE();
  __HAL_RCC_GPIOA_CLK_ENABLE();
  __HAL_RCC_GPIOB_CLK_ENABLE();
  __HAL_RCC_GPIOD_CLK_ENABLE();

  /*Configure GPIO pin Output Level */
  HAL_GPIO_WritePin(GPIOC, I2C_SEL4_Pin|I2C_SEL2_Pin|I2C_SEL3_Pin|LTEONOFF_Pin, GPIO_PIN_RESET);

  /*Configure GPIO pin Output Level */
  HAL_GPIO_WritePin(GPIOA, PeristalticPump1_Pin|I2C_SEL1_Pin, GPIO_PIN_RESET);

  /*Configure GPIO pin Output Level */
  HAL_GPIO_WritePin(SPI1_SS_GPIO_Port, SPI1_SS_Pin, GPIO_PIN_SET);

  /*Configure GPIO pin Output Level */
  HAL_GPIO_WritePin(GPIOB, ScrubberONOFF_Pin|HeaterOnOff1_Pin|SolenoidFluidPathAirPurge1_Pin|HeaterOnOff12_Pin
                          |AirPumpONOFF_Pin|SolenoidNozzleCleaning_Pin, GPIO_PIN_RESET);

  /*Configure GPIO pin Output Level */
  HAL_GPIO_WritePin(GPIOB, SensorFan_Pin|PeristalticPump2_Pin, GPIO_PIN_SET);

  /*Configure GPIO pin Output Level */
  HAL_GPIO_WritePin(Tempsensor1_GPIO_Port, Tempsensor1_Pin, GPIO_PIN_SET);

  /*Configure GPIO pins : I2C_SEL4_Pin I2C_SEL2_Pin I2C_SEL3_Pin */
  GPIO_InitStruct.Pin = I2C_SEL4_Pin|I2C_SEL2_Pin|I2C_SEL3_Pin;
  GPIO_InitStruct.Mode = GPIO_MODE_OUTPUT_PP;
  GPIO_InitStruct.Pull = GPIO_PULLUP;
  GPIO_InitStruct.Speed = GPIO_SPEED_FREQ_LOW;
  HAL_GPIO_Init(GPIOC, &GPIO_InitStruct);

  /*Configure GPIO pin : TP74_Pin */
  GPIO_InitStruct.Pin = TP74_Pin;
  GPIO_InitStruct.Mode = GPIO_MODE_INPUT;
  GPIO_InitStruct.Pull = GPIO_PULLUP;
  HAL_GPIO_Init(TP74_GPIO_Port, &GPIO_InitStruct);

  /*Configure GPIO pin : PeristalticPump1_Pin */
  GPIO_InitStruct.Pin = PeristalticPump1_Pin;
  GPIO_InitStruct.Mode = GPIO_MODE_OUTPUT_PP;
  GPIO_InitStruct.Pull = GPIO_NOPULL;
  GPIO_InitStruct.Speed = GPIO_SPEED_FREQ_LOW;
  HAL_GPIO_Init(PeristalticPump1_GPIO_Port, &GPIO_InitStruct);

  /*Configure GPIO pin : SPI1_SS_Pin */
  GPIO_InitStruct.Pin = SPI1_SS_Pin;
  GPIO_InitStruct.Mode = GPIO_MODE_OUTPUT_PP;
  GPIO_InitStruct.Pull = GPIO_PULLUP;
  GPIO_InitStruct.Speed = GPIO_SPEED_FREQ_VERY_HIGH;
  HAL_GPIO_Init(SPI1_SS_GPIO_Port, &GPIO_InitStruct);

  /*Configure GPIO pin : I2C_SEL1_Pin */
  GPIO_InitStruct.Pin = I2C_SEL1_Pin;
  GPIO_InitStruct.Mode = GPIO_MODE_OUTPUT_PP;
  GPIO_InitStruct.Pull = GPIO_PULLUP;
  GPIO_InitStruct.Speed = GPIO_SPEED_FREQ_LOW;
  HAL_GPIO_Init(I2C_SEL1_GPIO_Port, &GPIO_InitStruct);

  /*Configure GPIO pin : BlowerFanSignal1_Pin */
  GPIO_InitStruct.Pin = BlowerFanSignal1_Pin;
  GPIO_InitStruct.Mode = GPIO_MODE_INPUT;
  GPIO_InitStruct.Pull = GPIO_PULLUP;
  HAL_GPIO_Init(BlowerFanSignal1_GPIO_Port, &GPIO_InitStruct);

  /*Configure GPIO pins : ScrubberONOFF_Pin HeaterOnOff1_Pin HeaterOnOff12_Pin AirPumpONOFF_Pin */
  GPIO_InitStruct.Pin = ScrubberONOFF_Pin|HeaterOnOff1_Pin|HeaterOnOff12_Pin|AirPumpONOFF_Pin;
  GPIO_InitStruct.Mode = GPIO_MODE_OUTPUT_PP;
  GPIO_InitStruct.Pull = GPIO_PULLDOWN;
  GPIO_InitStruct.Speed = GPIO_SPEED_FREQ_LOW;
  HAL_GPIO_Init(GPIOB, &GPIO_InitStruct);

  /*Configure GPIO pins : SolenoidFluidPathAirPurge1_Pin SolenoidNozzleCleaning_Pin SensorFan_Pin */
  GPIO_InitStruct.Pin = SolenoidFluidPathAirPurge1_Pin|SolenoidNozzleCleaning_Pin|SensorFan_Pin;
  GPIO_InitStruct.Mode = GPIO_MODE_OUTPUT_PP;
  GPIO_InitStruct.Pull = GPIO_PULLUP;
  GPIO_InitStruct.Speed = GPIO_SPEED_FREQ_LOW;
  HAL_GPIO_Init(GPIOB, &GPIO_InitStruct);

  /*Configure GPIO pin : LTEONOFF_Pin */
  GPIO_InitStruct.Pin = LTEONOFF_Pin;
  GPIO_InitStruct.Mode = GPIO_MODE_OUTPUT_OD;
  GPIO_InitStruct.Pull = GPIO_NOPULL;
  GPIO_InitStruct.Speed = GPIO_SPEED_FREQ_HIGH;
  HAL_GPIO_Init(LTEONOFF_GPIO_Port, &GPIO_InitStruct);

  /*Configure GPIO pin : Tempsensor1_Pin */
  GPIO_InitStruct.Pin = Tempsensor1_Pin;
  GPIO_InitStruct.Mode = GPIO_MODE_OUTPUT_PP;
  GPIO_InitStruct.Pull = GPIO_PULLUP;
  GPIO_InitStruct.Speed = GPIO_SPEED_FREQ_VERY_HIGH;
  HAL_GPIO_Init(Tempsensor1_GPIO_Port, &GPIO_InitStruct);

  /*Configure GPIO pin : TP73_Pin */
  GPIO_InitStruct.Pin = TP73_Pin;
  GPIO_InitStruct.Mode = GPIO_MODE_INPUT;
  GPIO_InitStruct.Pull = GPIO_PULLUP;
  HAL_GPIO_Init(TP73_GPIO_Port, &GPIO_InitStruct);

  /*Configure GPIO pin : PeristalticPump2_Pin */
  GPIO_InitStruct.Pin = PeristalticPump2_Pin;
  GPIO_InitStruct.Mode = GPIO_MODE_OUTPUT_PP;
  GPIO_InitStruct.Pull = GPIO_NOPULL;
  GPIO_InitStruct.Speed = GPIO_SPEED_FREQ_LOW;
  HAL_GPIO_Init(PeristalticPump2_GPIO_Port, &GPIO_InitStruct);

}

void Error_Handler(void)
{
  __disable_irq();
  while (1)
  {
  }
}
